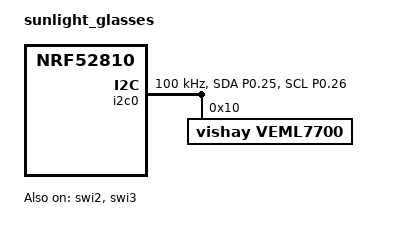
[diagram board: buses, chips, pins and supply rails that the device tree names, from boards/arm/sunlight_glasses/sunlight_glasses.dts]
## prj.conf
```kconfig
CONFIG_BT=y
CONFIG_LOG=n
CONFIG_BT_SMP=y
CONFIG_BT_PERIPHERAL=y
CONFIG_BT_DIS=y
CONFIG_BT_DIS_PNP=n
CONFIG_BT_BAS=y
CONFIG_I2C=y
CONFIG_SENSOR=y
CONFIG_BT_DEVICE_NAME="Sunlight Glasses"
CONFIG_BT_DEVICE_APPEARANCE=833
CONFIG_PINCTRL=y
CONFIG_VEML7700=y


# Disable features not needed
CONFIG_TIMESLICING=n
CONFIG_ASSERT=n

# Disable Bluetooth features not needed
CONFIG_BT_DEBUG_NONE=y
CONFIG_BT_ASSERT=n
CONFIG_BT_DATA_LEN_UPDATE=n
CONFIG_BT_PHY_UPDATE=n
CONFIG_BT_GATT_SERVICE_CHANGED=n
CONFIG_BT_GAP_PERIPHERAL_PREF_PARAMS=n
CONFIG_BT_HCI_VS_EXT=n

# Disable Bluetooth controller features not needed
CONFIG_BT_CTLR_PRIVACY=n
CONFIG_BT_CTLR_PHY_2M=n

# Reduce Bluetooth buffers
CONFIG_BT_BUF_EVT_DISCARDABLE_COUNT=1
CONFIG_BT_BUF_EVT_DISCARDABLE_SIZE=43
CONFIG_BT_BUF_EVT_RX_COUNT=2


# avoid nrf LF 32.768 xtal clock
CONFIG_CLOCK_CONTROL_NRF_K32SRC_RC=y
CONFIG_CLOCK_CONTROL_NRF_K32SRC_500PPM=y
CONFIG_CLOCK_CONTROL_NRF_K32SRC_RC_CALIBRATION=y
CONFIG_CLOCK_CONTROL_NRF_CALIBRATION_LF_ALWAYS_ON=y

CONFIG_GPIO=y
CONFIG_GPIO_HOGS=y
CONFIG_NRFX_GPIOTE=y
CONFIG_I2C_NRFX=y
```

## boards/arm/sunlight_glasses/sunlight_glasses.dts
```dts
// Copyright (c) 2024 Nordic Semiconductor ASA
// SPDX-License-Identifier: Apache-2.0

/dts-v1/;
#include <nordic/nrf52810_qfaa.dtsi>

/ {
	model = "sunlight_glasses";
	compatible = "sunlight-glasses";

	chosen {
		zephyr,sram = &sram0;
		zephyr,flash = &flash0;
		zephyr,code-partition = &slot0_partition;
	};
};

&flash0 {
	partitions {
		compatible = "fixed-partitions";
		#address-cells = <1>;
		#size-cells = <1>;

		boot_partition: partition@0 {
			label = "mcuboot";
			reg = <0x0 0xc000>;
		};
		slot0_partition: partition@c000 {
			label = "image-0";
			reg = <0xc000 0xa000>;
		};
		slot1_partition: partition@16000 {
			label = "image-1";
			reg = <0x16000 0xa000>;
		};
		scratch_partition: partition@20000 {
			label = "image-scratch";
			reg = <0x20000 0xa000>;
		};
		storage_partition: partition@2a000 {
			label = "storage";
			reg = <0x2a000 0x6000>;
		};
	};
};





&i2c0 {
	status = "okay";
	pinctrl-0 = <&i2c0_default>;
	pinctrl-names = "default";
	clock-frequency = <I2C_BITRATE_STANDARD>;
	veml7700@10 {
		compatible = "vishay,veml7700";
		reg = <0x10>; //this is the i2c address
	};
};

&gpio0 {
	status = "okay";
};

&pinctrl {
	i2c0_default: i2c0_default {
		group1 {
			psels = <NRF_PSEL(TWIM_SDA, 0, 25)>, <NRF_PSEL(TWIM_SCL, 0, 26)>;
		};
	};
};

&clock {
	status = "okay";
};

&gpiote {
	status = "okay";
};

&swi2 {
	status = "okay";
};

&swi3 {
	status = "okay";
};
```

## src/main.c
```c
/* main.c - Application main entry point */
/* Reads and reports ambient light value */

/*
 * Copyright (c) 2015-2016 Intel Corporation
 *
 * SPDX-License-Identifier: Apache-2.0
 */

#include <zephyr/types.h>
#include <stddef.h>
#include <string.h>
#include <errno.h>
#include <zephyr/sys/printk.h>
#include <zephyr/sys/byteorder.h>
#include <zephyr/kernel.h>
#include <zephyr/drivers/sensor.h>
#include <zephyr/drivers/sensor/veml7700.h>
#include <zephyr/device.h>

#include <zephyr/bluetooth/bluetooth.h>
#include <zephyr/bluetooth/hci.h>
#include <zephyr/bluetooth/conn.h>
#include <zephyr/bluetooth/uuid.h>
#include <zephyr/bluetooth/gatt.h>
#include <zephyr/bluetooth/services/bas.h>
#include <zephyr/bluetooth/services/ias.h>
#include "ess.h"

static const struct bt_data ad[] = {
	BT_DATA_BYTES(BT_DATA_FLAGS, (BT_LE_AD_GENERAL | BT_LE_AD_NO_BREDR)),
	BT_DATA_BYTES(BT_DATA_UUID16_ALL,
				  BT_UUID_16_ENCODE(BT_UUID_ESS_VAL),
				  BT_UUID_16_ENCODE(BT_UUID_BAS_VAL),
				  BT_UUID_16_ENCODE(BT_UUID_DIS_VAL))};

static void connected(struct bt_conn *conn, uint8_t err)
{
	if (err)
	{
		printk("Connection failed (err 0x%02x)\n", err);
	}
	else
	{
		printk("Connected\n");
	}
}

static void disconnected(struct bt_conn *conn, uint8_t reason)
{
	printk("Disconnected (reason 0x%02x)\n", reason);
}

BT_CONN_CB_DEFINE(conn_callbacks) = {
	.connected = connected,
	.disconnected = disconnected,
};

static void bt_ready(void)
{
	int err;

	printk("Bluetooth initialized\n");

	err = bt_le_adv_start(BT_LE_ADV_CONN_NAME, ad, ARRAY_SIZE(ad), NULL, 0);
	if (err)
	{
		printk("Advertising failed to start (err %d)\n", err);
		return;
	}

	printk("Advertising successfully started\n");
}

static void auth_cancel(struct bt_conn *conn)
{
	char addr[BT_ADDR_LE_STR_LEN];

	bt_addr_le_to_str(bt_conn_get_dst(conn), addr, sizeof(addr));

	printk("Pairing cancelled: %s\n", addr);
}

static struct bt_conn_auth_cb auth_cb_display = {
	.cancel = auth_cancel,
};

static void bas_notify(void)
{
	uint8_t battery_level = bt_bas_get_battery_level();

	battery_level--;

	if (!battery_level)
	{
		battery_level = 100U;
	}

	bt_bas_set_battery_level(battery_level);
}

static const struct device *get_veml7700_device(void)
{
	const struct device *const dev = DEVICE_DT_GET_ANY(vishay_veml7700);

	if (dev == NULL)
	{
		/* No such node, or the node does not have status "okay". */
		printk("\nError: no device found.\n");
		return NULL;
	}

	if (!device_is_ready(dev))
	{
		printk("\nError: Device \"%s\" is not ready; "
			   "check the driver initialization logs for errors.\n",
			   dev->name);
		return NULL;
	}

	printk("Found device \"%s\", getting sensor data\n", dev->name);
	return dev;
}

int main(void)
{
	int err;

	err = bt_enable(NULL);
	if (err)
	{
		printk("Bluetooth init failed (err %d)\n", err);
		return 0;
	}

	bt_ready();

	bt_conn_auth_cb_register(&auth_cb_display);

	const struct device *dev = get_veml7700_device();
	struct sensor_value ambient_light;

	// Need to set gain levels for high lux value
	// Can also override driver constructor if nedded
	if (sensor_attr_set(dev, SENSOR_CHAN_LIGHT, SENSOR_ATTR_VEML7700_GAIN, VEML7700_ALS_GAIN_1_8) != 0)
	{
		return 0;
	};
	if(sensor_attr_set(dev, SENSOR_CHAN_LIGHT, SENSOR_ATTR_VEML7700_ITIME, VEML7700_ALS_IT_25) != 0)
	{
		return 0;
	};

	if (dev == NULL)
	{
		printk("Device not found");
		return 0;
	}


	while (1)
	{
		sensor_sample_fetch(dev);
		sensor_channel_get(dev, SENSOR_CHAN_LIGHT, &ambient_light);
		printk("lux: %d\n",
			   ambient_light.val1);

		// Update Light level
		bt_ess_set_light_level(ambient_light.val1);

		// Not implemented just a simulation
		bas_notify();

		k_sleep(K_SECONDS(1));
	}
	return 0;
}
```

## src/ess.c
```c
/** @file
 *  @brief Environment Sensing Service
 */

/*
 * Copyright (c) 2018 Nordic Semiconductor ASA
 * Copyright (c) 2016 Intel Corporation
 *
 * SPDX-License-Identifier: Apache-2.0
 */

#include <errno.h>
#include <zephyr/init.h>
#include <zephyr/sys/__assert.h>
#include <stdbool.h>
#include <zephyr/types.h>
#include "math.h"

#include <zephyr/bluetooth/bluetooth.h>
#include <zephyr/bluetooth/conn.h>
#include <zephyr/bluetooth/gatt.h>
#include <zephyr/bluetooth/uuid.h>
#include "ess.h"

#define LOG_LEVEL CONFIG_BT_ESS_LOG_LEVEL
#include <zephyr/logging/log.h>
LOG_MODULE_REGISTER(ess);

static int32_t light_level = 100U;

static void blvl_ccc_cfg_changed(const struct bt_gatt_attr *attr,
				       uint16_t value)
{
	ARG_UNUSED(attr);

	bool notif_enabled = (value == BT_GATT_CCC_NOTIFY);

	LOG_INF("ESS Notifications %s", notif_enabled ? "enabled" : "disabled");
}

static ssize_t read_lvl(struct bt_conn *conn,
			       const struct bt_gatt_attr *attr, void *buf,
			       uint16_t len, uint16_t offset)
{
	int32_t lvl8 = light_level;

	return bt_gatt_attr_read(conn, attr, buf, len, offset, &lvl8,
				 sizeof(lvl8));
}

BT_GATT_SERVICE_DEFINE(ess,
	BT_GATT_PRIMARY_SERVICE(BT_UUID_ESS),
	BT_GATT_CHARACTERISTIC(BT_UUID_GATT_PERLGHT,
			       BT_GATT_CHRC_READ | BT_GATT_CHRC_NOTIFY,
			       BT_GATT_PERM_READ, read_lvl, NULL,
			       &light_level),
	BT_GATT_CCC(blvl_ccc_cfg_changed,
		    BT_GATT_PERM_READ | BT_GATT_PERM_WRITE),
);

static int ess_init(void)
{

	return 0;
}

int32_t bt_ess_get_light_level(void)
{
	return light_level;
}

int bt_ess_set_light_level(int32_t level)
{
	int rc;

	if (level < 0) {
		return -EINVAL;
	}

	// Source Adafruit
	float lux_corrected = (((6.0135e-13 * level - 9.3924e-9) * level + 8.1488e-5) * level + 1.0023) *
          level;

	light_level = (int32_t) lux_corrected;

	rc = bt_gatt_notify(NULL, &ess.attrs[1], &light_level, sizeof(light_level));

	return rc == -ENOTCONN ? 0 : rc;
}

SYS_INIT(ess_init, APPLICATION, CONFIG_APPLICATION_INIT_PRIORITY);
```
